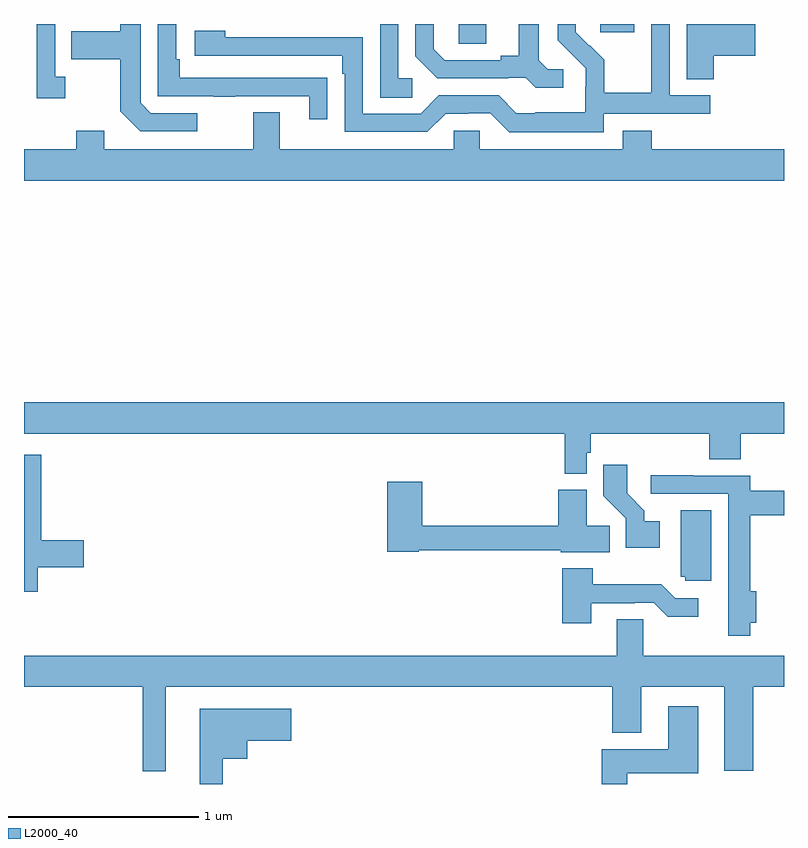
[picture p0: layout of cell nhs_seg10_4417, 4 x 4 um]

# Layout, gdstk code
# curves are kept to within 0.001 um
import gdstk
lib = gdstk.Library(unit=1e-6, precision=1e-09)
def R(c, l, rs):  # rectangles x0, y0, x1, y1
    for r in rs: c.add(gdstk.rectangle(r[:2], r[2:], *l))
def P(c, l, *ps):  # polygons
    for p in ps: c.add(gdstk.Polygon(p, *l))
L2000_40 = (2000, 40)

nhs_seg10_4417 = lib.new_cell('nhs_seg10_4417')
R(nhs_seg10_4417, L2000_40, [(363.288,1274.395,363.433,1274.5), (364.034,1274.457,364.213,1274.5)])
P(nhs_seg10_4417, L2000_40, [(363.043,1274.214),(362.97,1274.214),(362.97,1274.5),(362.874,1274.5),(362.874,1274.113),(363.043,1274.113)],
  [(364.05,1274.028),(364.612,1274.028),(364.612,1274.124),(364.398,1274.124),(364.398,1274.5),(364.302,1274.5),(364.302,1274.36),(364.3,1274.36),(364.3,1274.137),(364.055,1274.137),(364.055,1274.311),(363.978,1274.388),(363.975,1274.385),(363.905,1274.456),(363.905,1274.5),(363.81,1274.5),(363.81,1274.414),(363.956,1274.266),(363.956,1274.169),(363.954,1274.169),(363.954,1274.035),(363.691,1274.035),(363.691,1274.031),(363.591,1274.031),(363.498,1274.124),(363.183,1274.124),(363.087,1274.028),(362.784,1274.028),(362.784,1274.43),(362.06,1274.43),(362.06,1274.464),(361.899,1274.464),(361.899,1274.334),(362.675,1274.334),(362.675,1274.237),(362.688,1274.237),(362.688,1273.932),(363.123,1273.932),(363.219,1274.028),(363.338,1274.028),(363.338,1274.031),(363.453,1274.031),(363.553,1273.931),(364.05,1273.931)],
  [(361.216,1274.222),(361.164,1274.222),(361.164,1274.5),(361.067,1274.5),(361.067,1274.109),(361.216,1274.109)],
  [(363.838,1274.262),(363.756,1274.262),(363.709,1274.309),(363.709,1274.5),(363.605,1274.5),(363.605,1274.333),(363.509,1274.333),(363.509,1274.31),(363.214,1274.31),(363.157,1274.367),(363.157,1274.5),(363.06,1274.5),(363.06,1274.33),(363.176,1274.214),(363.548,1274.214),(363.548,1274.217),(363.642,1274.217),(363.694,1274.165),(363.838,1274.165)],
  [(364.631,1274.333),(364.849,1274.333),(364.849,1274.5),(364.487,1274.5),(364.487,1274.209),(364.631,1274.209)],
  [(362.597,1274.216),(362.495,1274.216),(362.495,1274.217),(361.82,1274.217),(361.82,1274.314),(361.8,1274.314),(361.8,1274.5),(361.704,1274.5),(361.704,1274.121),(361.999,1274.121),(361.999,1274.116),(362.111,1274.116),(362.111,1274.121),(362.501,1274.121),(362.501,1273.998),(362.597,1273.998)],
  [(361.912,1274.031),(361.668,1274.031),(361.614,1274.085),(361.614,1274.5),(361.506,1274.5),(361.506,1274.461),(361.249,1274.461),(361.249,1274.314),(361.506,1274.314),(361.506,1274.041),(361.611,1273.935),(361.912,1273.935)],
  [(365,1273.84),(364.304,1273.84),(364.304,1273.939),(364.151,1273.939),(364.151,1273.84),(363.399,1273.84),(363.399,1273.938),(363.261,1273.938),(363.261,1273.84),(362.347,1273.84),(362.347,1274.035),(362.207,1274.035),(362.207,1273.84),(361.423,1273.84),(361.423,1273.939),(361.276,1273.939),(361.276,1273.84),(361,1273.84),(361,1273.676),(365,1273.676)],
  [(363.963,1272.243),(363.983,1272.243),(363.983,1272.344),(364.607,1272.344),(364.607,1272.208),(364.772,1272.208),(364.772,1272.344),(365,1272.344),(365,1272.508),(361,1272.508),(361,1272.344),(363.847,1272.344),(363.847,1272.134),(363.963,1272.134)],
  [(361.072,1271.641),(361.315,1271.641),(361.315,1271.783),(361.091,1271.783),(361.091,1272.234),(361,1272.234),(361,1271.513),(361.072,1271.513)],
  [(364.345,1271.884),(364.264,1271.884),(364.264,1271.939),(364.174,1272.029),(364.174,1272.181),(364.048,1272.181),(364.048,1272.018),(364.167,1271.899),(364.167,1271.744),(364.345,1271.744)],
  [(364.823,1271.348),(364.853,1271.348),(364.853,1271.514),(364.823,1271.514),(364.823,1271.914),(365,1271.914),(365,1272.043),(364.823,1272.043),(364.823,1272.123),(364.523,1272.123),(364.523,1272.126),(364.299,1272.126),(364.299,1272.027),(364.707,1272.027),(364.707,1271.502),(364.706,1271.502),(364.706,1271.28),(364.823,1271.28)],
  [(364.082,1271.858),(363.961,1271.858),(363.961,1272.049),(363.812,1272.049),(363.812,1271.86),(363.095,1271.86),(363.095,1272.091),(362.912,1272.091),(362.912,1271.723),(363.078,1271.723),(363.078,1271.731),(363.824,1271.731),(363.824,1271.72),(364.082,1271.72)],
  [(364.618,1271.941),(364.457,1271.941),(364.457,1271.592),(364.479,1271.592),(364.479,1271.571),(364.618,1271.571)],
  [(363.985,1271.451),(364.214,1271.451),(364.214,1271.454),(364.314,1271.454),(364.387,1271.381),(364.549,1271.381),(364.549,1271.478),(364.428,1271.478),(364.355,1271.551),(363.993,1271.551),(363.993,1271.635),(363.833,1271.635),(363.833,1271.346),(363.985,1271.346)],
  [(361.747,1271.012),(364.097,1271.012),(364.097,1270.769),(364.249,1270.769),(364.249,1271.012),(364.685,1271.012),(364.685,1270.571),(364.838,1270.571),(364.838,1271.012),(365,1271.012),(365,1271.176),(364.26,1271.176),(364.26,1271.366),(364.121,1271.366),(364.121,1271.176),(361,1271.176),(361,1271.012),(361.626,1271.012),(361.626,1270.568),(361.747,1270.568)],
  [(364.174,1270.556),(364.549,1270.556),(364.549,1270.909),(364.391,1270.909),(364.391,1270.684),(364.04,1270.684),(364.04,1270.5),(364.174,1270.5)],
  [(362.047,1270.634),(362.176,1270.634),(362.176,1270.727),(362.407,1270.727),(362.407,1270.897),(361.925,1270.897),(361.925,1270.5),(362.047,1270.5)])

lib.write_gds('nhs_seg10_4417.gds')
